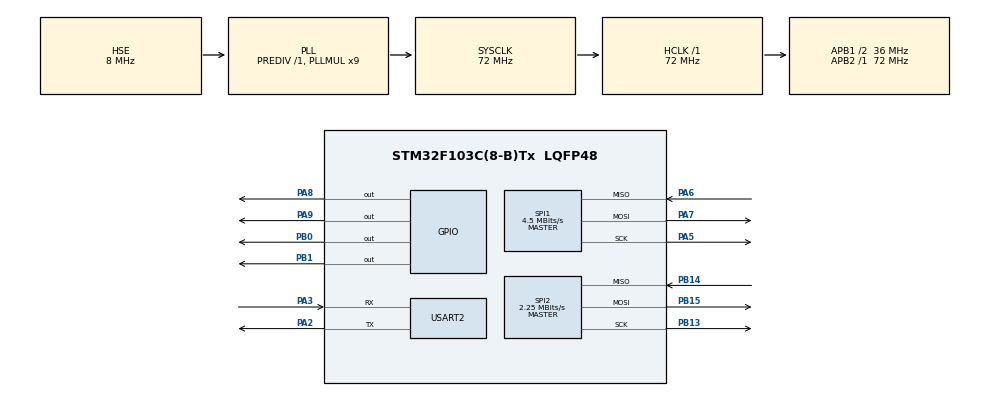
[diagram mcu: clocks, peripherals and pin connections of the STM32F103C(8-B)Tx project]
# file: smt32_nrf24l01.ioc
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Mcu.Family=STM32F1
Mcu.Name=STM32F103C(8-B)Tx
Mcu.Package=LQFP48
NVIC.PriorityGroup=NVIC_PRIORITYGROUP_4
PA13.Mode=Serial_Wire
PA13.Signal=SYS_JTMS-SWDIO
PA14.Mode=Serial_Wire
PA14.Signal=SYS_JTCK-SWCLK
PA2.Mode=Asynchronous
PA2.Signal=USART2_TX
PA3.Mode=Asynchronous
PA3.Signal=USART2_RX
PA5.Mode=Full_Duplex_Master
PA5.Signal=SPI1_SCK
PA6.Mode=Full_Duplex_Master
PA6.Signal=SPI1_MISO
PA7.Mode=Full_Duplex_Master
PA7.Signal=SPI1_MOSI
PA8.Signal=GPIO_Output
PA9.Signal=GPIO_Output
PB0.Signal=GPIO_Output
PB1.Signal=GPIO_Output
PB13.Mode=Full_Duplex_Master
PB13.Signal=SPI2_SCK
PB14.Mode=Full_Duplex_Master
PB14.Signal=SPI2_MISO
PB15.Mode=Full_Duplex_Master
PB15.Signal=SPI2_MOSI
PD0-OSC_IN.Mode=HSE-External-Oscillator
PD0-OSC_IN.Signal=RCC_OSC_IN
PD1-OSC_OUT.Mode=HSE-External-Oscillator
PD1-OSC_OUT.Signal=RCC_OSC_OUT
ProjectManager.HeapSize=0x200
ProjectManager.StackSize=0x400
ProjectManager.TargetToolchain=STM32CubeIDE
RCC.AHBFreq_Value=72000000
RCC.APB1CLKDivider=RCC_HCLK_DIV2
RCC.APB1Freq_Value=36000000
RCC.APB1TimFreq_Value=72000000
RCC.APB2Freq_Value=72000000
RCC.APB2TimFreq_Value=72000000
RCC.HCLKFreq_Value=72000000
RCC.PLLMUL=RCC_PLL_MUL9
RCC.PLLSourceVirtual=RCC_PLLSOURCE_HSE
RCC.SYSCLKFreq_VALUE=72000000
RCC.SYSCLKSource=RCC_SYSCLKSOURCE_PLLCLK
RCC.USBFreq_Value=72000000
SPI1.BaudRatePrescaler=SPI_BAUDRATEPRESCALER_16
SPI1.CalculateBaudRate=4.5 MBits/s
SPI1.Direction=SPI_DIRECTION_2LINES
SPI1.FirstBit=SPI_FIRSTBIT_MSB
SPI1.Mode=SPI_MODE_MASTER
SPI1.VirtualType=VM_MASTER
SPI2.BaudRatePrescaler=SPI_BAUDRATEPRESCALER_16
SPI2.CalculateBaudRate=2.25 MBits/s
SPI2.Direction=SPI_DIRECTION_2LINES
SPI2.FirstBit=SPI_FIRSTBIT_MSB
SPI2.Mode=SPI_MODE_MASTER
SPI2.VirtualType=VM_MASTER
USART2.VirtualMode=VM_ASYNC
board=custom

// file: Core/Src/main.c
/* USER CODE BEGIN Header */
/**
 ******************************************************************************
 * @file           : main.c
 * @brief          : Main program body
 ******************************************************************************
 * @attention
 *
 * Copyright (c) 2025 STMicroelectronics.
 * All rights reserved.
 *
 * This software is licensed under terms that can be found in the LICENSE file
 * in the root directory of this software component.
 * If no LICENSE file comes with this software, it is provided AS-IS.
 *
 ******************************************************************************
 */
/* USER CODE END Header */
#include "main.h"

/* USER CODE BEGIN Includes */
#include "nrf24l01.h"
#include "stdint.h"
#include "stdio.h"

#include <stdlib.h>
/* USER CODE END Includes */

SPI_HandleTypeDef hspi1;
SPI_HandleTypeDef hspi2;

UART_HandleTypeDef huart2;

void SystemClock_Config(void);
static void MX_GPIO_Init(void);
static void MX_USART2_UART_Init(void);
static void MX_SPI1_Init(void);
static void MX_SPI2_Init(void);

/* USER CODE BEGIN 0 */
int _write(int file, char *ptr, int len) {
    HAL_UART_Transmit(&huart2, (uint8_t *) ptr, len, HAL_MAX_DELAY);
    return len;
}
#define RUNS 10
int count = 0;
void value_callback(uint8_t *packet, uint8_t packet_length) {
    count++;
    if (count >= RUNS * 128) {
        printf("Received %d packets\r\n", count);
    }
}

void rx() {
    printf("Starting RX\r\n");

    // Initialize the device
    nrf24l01 device;
    uint8_t address_prefix[4] = {0xB3, 0xB4, 0xB5, 0xB6};
    if (!nrf24l01_init(&device, address_prefix, &hspi1, GPIOB, GPIO_PIN_0, GPIOB, GPIO_PIN_1)) {
        printf("Could not initialize TX device\r\n");
    }

    nrf24l01_power_up(&device);

    nrf24l01_set_channel(&device, 32);

    nrf24l01_set_data_rate(&device, DATA_RATE_HIGH);

    nrf24l01_set_power_level(&device, POWER_LEVEL_LOW);

    // Configure as RX
    nrf24l01_set_pipe_read(&device, 1, 0x15);

    // nrf24l01_receive_packets_inf(&device, value_callback);
    uint8_t *packets[128];
    for (uint8_t i = 0; i < 128; i++) {
        packets[i] = malloc(32);
    }
    for (int i = 0; i < RUNS; i++) {
        int c;
        if ((c = nrf24l01_receive_packets(&device, packets, 128, 10)) != 128) {
            printf("Some packets were lost %d\n", c);
        }
    }
    printf("Finished receiving packets\n");
}

void tx() {
    HAL_Delay(1000);
    printf("Starting TX\r\n");

    // Initialize the device
    nrf24l01 device;
    uint8_t address_prefix[4] = {0xB3, 0xB4, 0xB5, 0xB6};
    if (!nrf24l01_init(&device, address_prefix, &hspi2, GPIOA, GPIO_PIN_8, GPIOA, GPIO_PIN_9)) {
        printf("Could not initialize TX device\r\n");
    }

    nrf24l01_power_up(&device);

    nrf24l01_set_channel(&device, 32);

    nrf24l01_set_data_rate(&device, DATA_RATE_HIGH);

    nrf24l01_set_power_level(&device, POWER_LEVEL_LOW);

    // Configure as TX
    nrf24l01_set_pipe0_write(&device, 0x15);

    // Prepare the packets
    uint8_t *payload[128];
    uint8_t payload_lengths[128];
    printf("Preparing 128 packets...\r\n");
    for (uint8_t i = 0; i < 128; i++) {
        payload[i] = malloc(32);
        for (int j = 0; j < 32; j++) {
            payload[i][j] = i;
        }
        payload_lengths[i] = 32;
    }
    printf("Starting transmission of packets...\r\n");

    uint32_t start_time = HAL_GetTick();

    for (uint32_t k = 0; k < RUNS; k++) {
        nrf24l01_send_packets(&device, payload, 128, payload_lengths, true);
    }

    uint32_t elapsed_time_ms = HAL_GetTick() - start_time;
    printf("Execution time: %lu ms, count = %d\r\n", elapsed_time_ms, count);
}

/* USER CODE END 0 */

int main(void) {

    /* MCU Configuration--------------------------------------------------------*/

    /* Reset of all peripherals, Initializes the Flash interface and the Systick. */
    HAL_Init();

    /* Configure the system clock */
    SystemClock_Config();

    /* Initialize all configured peripherals */
    MX_GPIO_Init();
    MX_USART2_UART_Init();
    MX_SPI1_Init();
    MX_SPI2_Init();
    /* USER CODE BEGIN 2 */
    printf("\x1B[2J");
    printf("Starting...\r\n");
    tx();
    // rx();
    /* USER CODE END 2 */

    /* Infinite loop */
    while (1) {

    }
}

void SystemClock_Config(void) {
    RCC_OscInitTypeDef RCC_OscInitStruct = {0};
    RCC_ClkInitTypeDef RCC_ClkInitStruct = {0};

    /** Initializes the RCC Oscillators according to the specified parameters
     * in the RCC_OscInitTypeDef structure.
     */
    RCC_OscInitStruct.OscillatorType = RCC_OSCILLATORTYPE_HSE;
    RCC_OscInitStruct.HSEState = RCC_HSE_ON;
    RCC_OscInitStruct.HSEPredivValue = RCC_HSE_PREDIV_DIV1;
    RCC_OscInitStruct.HSIState = RCC_HSI_ON;
    RCC_OscInitStruct.PLL.PLLState = RCC_PLL_ON;
    RCC_OscInitStruct.PLL.PLLSource = RCC_PLLSOURCE_HSE;
    RCC_OscInitStruct.PLL.PLLMUL = RCC_PLL_MUL9;
    if (HAL_RCC_OscConfig(&RCC_OscInitStruct) != HAL_OK) {
        Error_Handler();
    }

    /** Initializes the CPU, AHB and APB buses clocks
     */
    RCC_ClkInitStruct.ClockType = RCC_CLOCKTYPE_HCLK | RCC_CLOCKTYPE_SYSCLK | RCC_CLOCKTYPE_PCLK1 | RCC_CLOCKTYPE_PCLK2;
    RCC_ClkInitStruct.SYSCLKSource = RCC_SYSCLKSOURCE_PLLCLK;
    RCC_ClkInitStruct.AHBCLKDivider = RCC_SYSCLK_DIV1;
    RCC_ClkInitStruct.APB1CLKDivider = RCC_HCLK_DIV2;
    RCC_ClkInitStruct.APB2CLKDivider = RCC_HCLK_DIV1;

    if (HAL_RCC_ClockConfig(&RCC_ClkInitStruct, FLASH_LATENCY_2) != HAL_OK) {
        Error_Handler();
    }
}

static void MX_SPI1_Init(void) {

    /* SPI1 parameter configuration*/
    hspi1.Instance = SPI1;
    hspi1.Init.Mode = SPI_MODE_MASTER;
    hspi1.Init.Direction = SPI_DIRECTION_2LINES;
    hspi1.Init.DataSize = SPI_DATASIZE_8BIT;
    hspi1.Init.CLKPolarity = SPI_POLARITY_LOW;
    hspi1.Init.CLKPhase = SPI_PHASE_1EDGE;
    hspi1.Init.NSS = SPI_NSS_SOFT;
    hspi1.Init.BaudRatePrescaler = SPI_BAUDRATEPRESCALER_16;
    hspi1.Init.FirstBit = SPI_FIRSTBIT_MSB;
    hspi1.Init.TIMode = SPI_TIMODE_DISABLE;
    hspi1.Init.CRCCalculation = SPI_CRCCALCULATION_DISABLE;
    hspi1.Init.CRCPolynomial = 10;
    if (HAL_SPI_Init(&hspi1) != HAL_OK) {
        Error_Handler();
    }
}

static void MX_SPI2_Init(void) {

    /* SPI2 parameter configuration*/
    hspi2.Instance = SPI2;
    hspi2.Init.Mode = SPI_MODE_MASTER;
    hspi2.Init.Direction = SPI_DIRECTION_2LINES;
    hspi2.Init.DataSize = SPI_DATASIZE_8BIT;
    hspi2.Init.CLKPolarity = SPI_POLARITY_LOW;
    hspi2.Init.CLKPhase = SPI_PHASE_1EDGE;
    hspi2.Init.NSS = SPI_NSS_SOFT;
    hspi2.Init.BaudRatePrescaler = SPI_BAUDRATEPRESCALER_16;
    hspi2.Init.FirstBit = SPI_FIRSTBIT_MSB;
    hspi2.Init.TIMode = SPI_TIMODE_DISABLE;
    hspi2.Init.CRCCalculation = SPI_CRCCALCULATION_DISABLE;
    hspi2.Init.CRCPolynomial = 10;
    if (HAL_SPI_Init(&hspi2) != HAL_OK) {
        Error_Handler();
    }
}

static void MX_USART2_UART_Init(void) {

    huart2.Instance = USART2;
    huart2.Init.BaudRate = 115200;
    huart2.Init.WordLength = UART_WORDLENGTH_8B;
    huart2.Init.StopBits = UART_STOPBITS_1;
    huart2.Init.Parity = UART_PARITY_NONE;
    huart2.Init.Mode = UART_MODE_TX_RX;
    huart2.Init.HwFlowCtl = UART_HWCONTROL_NONE;
    huart2.Init.OverSampling = UART_OVERSAMPLING_16;
    if (HAL_UART_Init(&huart2) != HAL_OK) {
        Error_Handler();
    }
}

static void MX_GPIO_Init(void) {
    GPIO_InitTypeDef GPIO_InitStruct = {0};

    /* GPIO Ports Clock Enable */
    __HAL_RCC_GPIOD_CLK_ENABLE();
    __HAL_RCC_GPIOA_CLK_ENABLE();
    __HAL_RCC_GPIOB_CLK_ENABLE();

    /*Configure GPIO pin Output Level */
    HAL_GPIO_WritePin(GPIOB, GPIO_PIN_0 | GPIO_PIN_1, GPIO_PIN_RESET);

    /*Configure GPIO pin Output Level */
    HAL_GPIO_WritePin(GPIOA, GPIO_PIN_8 | GPIO_PIN_9, GPIO_PIN_RESET);

    /*Configure GPIO pins : PB0 PB1 */
    GPIO_InitStruct.Pin = GPIO_PIN_0 | GPIO_PIN_1;
    GPIO_InitStruct.Mode = GPIO_MODE_OUTPUT_PP;
    GPIO_InitStruct.Pull = GPIO_NOPULL;
    GPIO_InitStruct.Speed = GPIO_SPEED_FREQ_LOW;
    HAL_GPIO_Init(GPIOB, &GPIO_InitStruct);

    /*Configure GPIO pins : PA8 PA9 */
    GPIO_InitStruct.Pin = GPIO_PIN_8 | GPIO_PIN_9;
    GPIO_InitStruct.Mode = GPIO_MODE_OUTPUT_PP;
    GPIO_InitStruct.Pull = GPIO_NOPULL;
    GPIO_InitStruct.Speed = GPIO_SPEED_FREQ_LOW;
    HAL_GPIO_Init(GPIOA, &GPIO_InitStruct);

}

void Error_Handler(void) {
    __disable_irq();
    while (1) {
    }
}
